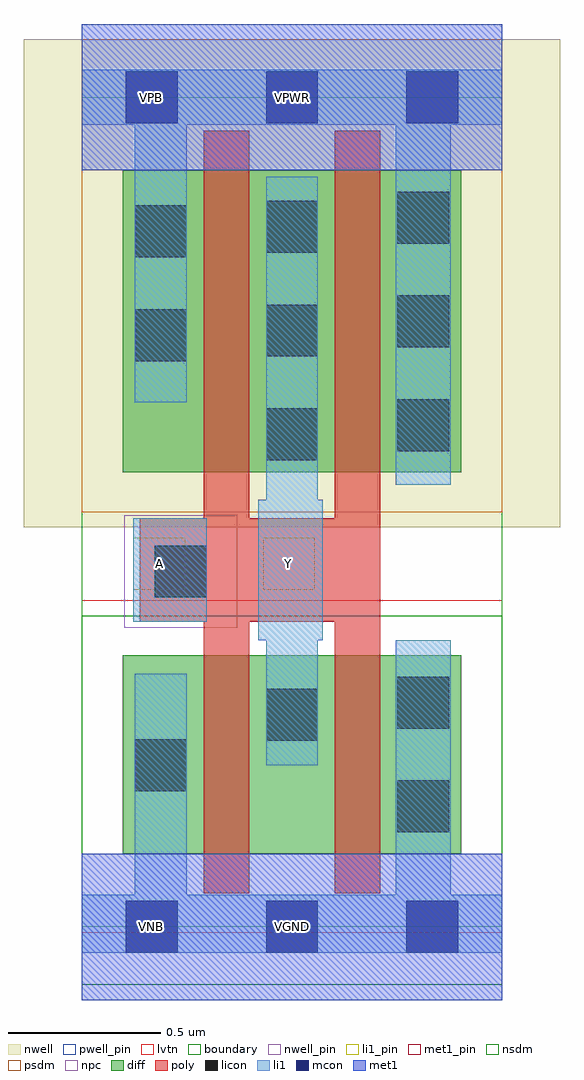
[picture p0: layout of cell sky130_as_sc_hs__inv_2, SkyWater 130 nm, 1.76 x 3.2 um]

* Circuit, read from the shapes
.subckt sky130_as_sc_hs__inv_2 A VGND VNB VPB VPWR Y
XM1 Y A VGND VNB sky130_fd_pr__nfet_01v8_lvt w=0.65 l=0.15 m=2
XM2 Y A VPWR VPB sky130_fd_pr__pfet_01v8 w=0.99 l=0.15 m=2
.ends

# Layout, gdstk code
import gdstk
lib = gdstk.Library(unit=1e-6, precision=1e-09)
def R(c, l, rs):  # rectangles x0, y0, x1, y1
    for r in rs: c.add(gdstk.rectangle(r[:2], r[2:], *l))
def A(c, l, x, y, w, h, nx, ny, dx, dy):  # array of equal rectangles
    R(c, l, [(x+i*dx, y+j*dy, x+i*dx+w, y+j*dy+h) for i in range(nx) for j in range(ny)])
nwell_pin = (64, 16)
nwell = (64, 20)
diff = (65, 20)
poly = (66, 20)
licon = (66, 44)
li1_pin = (67, 16)
li1 = (67, 20)
mcon = (67, 44)
met1_pin = (68, 16)
met1 = (68, 20)
nsdm = (93, 44)
psdm = (94, 20)
npc = (95, 20)
pwell_pin = (122, 16)
lvtn = (125, 44)
boundary = (235, 4)

sky130_as_sc_hs__inv_2 = lib.new_cell('sky130_as_sc_hs__inv_2')
R(sky130_as_sc_hs__inv_2, nwell_pin, [(0.145,2.635,0.315,2.805)])
R(sky130_as_sc_hs__inv_2, nwell, [(-0.19,1.31,1.57,2.91)])
R(sky130_as_sc_hs__inv_2, diff, [(0.135,0.24,1.245,0.89), (0.135,1.49,1.245,2.48)])
R(sky130_as_sc_hs__inv_2, poly, [(0.4,0.11,0.55,1), (0.83,0.11,0.98,1), (0.19,1,0.98,1.34), (0.4,1.34,0.55,2.61), (0.83,1.34,0.98,2.61)])
A(sky130_as_sc_hs__inv_2, licon, 0.605, 1.53, 0.17, 0.17, 1, 3, 0, 0.34)
A(sky130_as_sc_hs__inv_2, licon, 1.035, 1.56, 0.17, 0.17, 1, 3, 0, 0.34)
R(sky130_as_sc_hs__inv_2, licon, [(1.035,0.31,1.205,0.48), (0.175,0.445,0.345,0.615), (0.605,0.61,0.775,0.78), (1.035,0.65,1.205,0.82), (0.24,1.08,0.41,1.25), (0.175,1.855,0.345,2.025), (0.175,2.195,0.345,2.365)])
R(sky130_as_sc_hs__inv_2, li1_pin, [(0.17,1.105,0.34,1.275), (0.595,1.105,0.765,1.275)])
R(sky130_as_sc_hs__inv_2, li1, [(0,-0.085,1.38,0.105), (0.175,0.105,0.345,0.83), (1.03,0.105,1.21,0.94), (0.605,0.53,0.775,0.94), (0.58,0.94,0.79,1.4), (0.17,1,0.41,1.34), (0.605,1.4,0.775,2.46), (1.03,1.45,1.21,2.63), (0.175,1.72,0.345,2.63), (0,2.63,1.38,2.81)])
A(sky130_as_sc_hs__inv_2, mcon, 0.145, -0.085, 0.17, 0.17, 3, 2, 0.46, 2.72)
R(sky130_as_sc_hs__inv_2, met1_pin, [(0,-0.24,1.38,0.24), (0.145,-0.085,0.315,0.085), (0,2.48,1.38,2.96), (0.145,2.635,0.315,2.805)])
R(sky130_as_sc_hs__inv_2, met1, [(0,-0.24,1.38,0.24), (0,2.48,1.38,2.96)])
R(sky130_as_sc_hs__inv_2, nsdm, [(0,-0.19,1.38,1.02)])
R(sky130_as_sc_hs__inv_2, psdm, [(0,1.36,1.38,2.91)])
R(sky130_as_sc_hs__inv_2, npc, [(0.14,0.98,0.51,1.35)])
R(sky130_as_sc_hs__inv_2, pwell_pin, [(0.145,-0.085,0.315,0.085)])
R(sky130_as_sc_hs__inv_2, lvtn, [(0,-0.02,1.38,1.07)])
R(sky130_as_sc_hs__inv_2, boundary, [(0,0,1.38,2.72)])
sky130_as_sc_hs__inv_2.add(gdstk.Label('VNB', (0.23,0), layer=64, texttype=59))
sky130_as_sc_hs__inv_2.add(gdstk.Label('VPB', (0.23,2.72), layer=64, texttype=5))
sky130_as_sc_hs__inv_2.add(gdstk.Label('A', (0.255,1.19), layer=67, texttype=5))
sky130_as_sc_hs__inv_2.add(gdstk.Label('Y', (0.68,1.19), layer=67, texttype=5))
sky130_as_sc_hs__inv_2.add(gdstk.Label('VNB', (0.23,0), layer=64, texttype=59))
sky130_as_sc_hs__inv_2.add(gdstk.Label('VPB', (0.23,2.72), layer=64, texttype=5))
sky130_as_sc_hs__inv_2.add(gdstk.Label('VGND', (0.23,0), layer=68, texttype=5))
sky130_as_sc_hs__inv_2.add(gdstk.Label('VGND', (0.69,0), layer=68, texttype=5))
sky130_as_sc_hs__inv_2.add(gdstk.Label('VPWR', (0.69,2.72), layer=68, texttype=5))
sky130_as_sc_hs__inv_2.add(gdstk.Label('VPWR', (0.23,2.72), layer=68, texttype=5))
sky130_as_sc_hs__inv_2.add(gdstk.Label('A', (0.255,1.19), layer=67, texttype=5))
sky130_as_sc_hs__inv_2.add(gdstk.Label('Y', (0.68,1.19), layer=67, texttype=5))

lib.write_gds('sky130_as_sc_hs__inv_2.gds')
